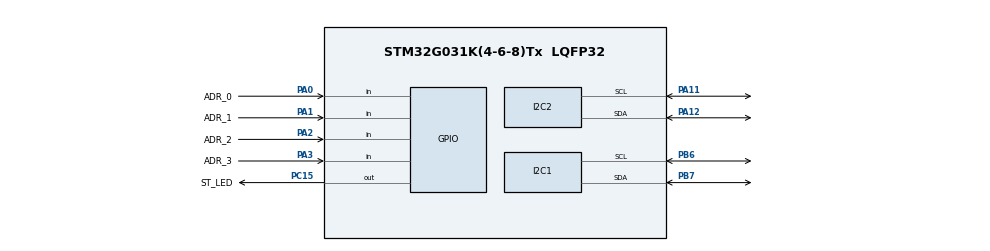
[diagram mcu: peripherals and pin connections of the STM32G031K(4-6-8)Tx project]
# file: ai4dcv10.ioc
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I2C1.Timing=0x10B17DB5
I2C2.Timing=0x10B17DB5
Mcu.Family=STM32G0
Mcu.Name=STM32G031K(4-6-8)Tx
Mcu.Package=LQFP32
PA0.GPIO_Label=ADR_0
PA0.GPIO_PuPd=GPIO_PULLUP
PA0.Signal=GPIO_Input
PA1.GPIO_Label=ADR_1
PA1.GPIO_PuPd=GPIO_PULLUP
PA1.Signal=GPIO_Input
PA11\ [PA9].Mode=I2C
PA11\ [PA9].Signal=I2C2_SCL
PA12\ [PA10].Mode=I2C
PA12\ [PA10].Signal=I2C2_SDA
PA2.GPIO_Label=ADR_2
PA2.GPIO_PuPd=GPIO_PULLUP
PA2.Signal=GPIO_Input
PA3.GPIO_Label=ADR_3
PA3.GPIO_PuPd=GPIO_PULLUP
PA3.Signal=GPIO_Input
PB6.Mode=I2C
PB6.Signal=I2C1_SCL
PB7.Mode=I2C
PB7.Signal=I2C1_SDA
PC15-OSC32_OUT\ (PC15).GPIO_Label=ST_LED
PC15-OSC32_OUT\ (PC15).Signal=GPIO_Output
ProjectManager.HeapSize=0x200
ProjectManager.StackSize=0x400
ProjectManager.TargetToolchain=CMake
RCC.ADCFreq_Value=64000000
RCC.AHBFreq_Value=64000000
RCC.CortexFreq_Value=64000000
RCC.EXTERNAL_CLOCK_VALUE=12288000
RCC.HCLKFreq_Value=64000000
RCC.HSE_VALUE=8000000
RCC.HSI_VALUE=16000000
RCC.LSE_VALUE=32768
RCC.SYSCLKFreq_VALUE=64000000
RCC.SYSCLKSource=RCC_SYSCLKSOURCE_PLLCLK
RCC.VCOOutputFreq_Value=128000000
VP_IWDG_VS_IWDG.Mode=IWDG_Activate
board=custom

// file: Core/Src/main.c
/* USER CODE BEGIN Header */
/**
  ******************************************************************************
  * @file           : main.c
  * @brief          : Main program body
  ******************************************************************************
  * @attention
  *
  * Copyright (c) 2026 STMicroelectronics.
  * All rights reserved.
  *
  * This software is licensed under terms that can be found in the LICENSE file
  * in the root directory of this software component.
  * If no LICENSE file comes with this software, it is provided AS-IS.
  *
  ******************************************************************************
  */
/* USER CODE END Header */
#include "main.h"

/* USER CODE BEGIN Includes */
#include "interface.h"
#include "driver/bootloader.h"
/* USER CODE END Includes */

/* USER CODE BEGIN PV */
static uint32_t address;
/* USER CODE END PV */

void SystemClock_Config(void);
static void MX_GPIO_Init(void);
static void MX_I2C1_Init(void);
static void MX_I2C2_Init(void);
static void MX_IWDG_Init(void);

int main(void)
{

  /* USER CODE BEGIN 1 */
  /* Must be the first statement: jumps to the ROM bootloader if the 0x19
   * command requested it on the previous run. Runs before any init and
   * before the IWDG ever starts (the IWDG cannot be stopped and would
   * reset the chip mid-flash inside the bootloader). */
  Bootloader_CheckAndEnter();
  /* USER CODE END 1 */

  /* MCU Configuration--------------------------------------------------------*/

  /* Reset of all peripherals, Initializes the Flash interface and the Systick. */
  LL_APB2_GRP1_EnableClock(LL_APB2_GRP1_PERIPH_SYSCFG);
  LL_APB1_GRP1_EnableClock(LL_APB1_GRP1_PERIPH_PWR);

  /* SysTick_IRQn interrupt configuration */
  NVIC_SetPriority(SysTick_IRQn, 3);

  /* Configure the system clock */
  SystemClock_Config();

  /* Initialize all configured peripherals */
  MX_GPIO_Init();
  MX_I2C1_Init();
  MX_I2C2_Init();
  MX_IWDG_Init();
  /* USER CODE BEGIN 2 */
  /* Slave address = base + closed address jumpers (open, pulled high = no
   * offset - the F0 boards' convention). MX_I2C1_Init left OwnAddress1 = 0;
   * the real address is set here. */
  address = I2C_BASE_ADDRESS;
  address += LL_GPIO_IsInputPinSet(ADR_0_GPIO_Port, ADR_0_Pin) ? 0x00 : 0x01;
  address += LL_GPIO_IsInputPinSet(ADR_1_GPIO_Port, ADR_1_Pin) ? 0x00 : 0x02;
  address += LL_GPIO_IsInputPinSet(ADR_2_GPIO_Port, ADR_2_Pin) ? 0x00 : 0x04;
  address += LL_GPIO_IsInputPinSet(ADR_3_GPIO_Port, ADR_3_Pin) ? 0x00 : 0x08;

  LL_I2C_DisableOwnAddress1(I2C1);
  LL_I2C_SetOwnAddress1(I2C1, address << 1, LL_I2C_ADDRESSING_MODE_7BIT);
  LL_I2C_EnableOwnAddress1(I2C1);

  LL_SYSTICK_EnableIT();

  I2CHat_init();
  /* USER CODE END 2 */

  /* Infinite loop */
  while (1)
  {

    /* USER CODE BEGIN 3 */
    I2CHat_run();
  }
  /* USER CODE END 3 */
}

void SystemClock_Config(void)
{
  LL_FLASH_SetLatency(LL_FLASH_LATENCY_2);
  while(LL_FLASH_GetLatency() != LL_FLASH_LATENCY_2)
  {
  }

  /* HSI configuration and activation */
  LL_RCC_HSI_Enable();
  while(LL_RCC_HSI_IsReady() != 1)
  {
  }

  /* LSI configuration and activation */
  LL_RCC_LSI_Enable();
  while(LL_RCC_LSI_IsReady() != 1)
  {
  }

  /* Main PLL configuration and activation */
  LL_RCC_PLL_ConfigDomain_SYS(LL_RCC_PLLSOURCE_HSI, LL_RCC_PLLM_DIV_1, 8, LL_RCC_PLLR_DIV_2);
  LL_RCC_PLL_Enable();
  LL_RCC_PLL_EnableDomain_SYS();
  while(LL_RCC_PLL_IsReady() != 1)
  {
  }

  /* Set AHB prescaler*/
  LL_RCC_SetAHBPrescaler(LL_RCC_SYSCLK_DIV_1);

  /* Sysclk activation on the main PLL */
  LL_RCC_SetSysClkSource(LL_RCC_SYS_CLKSOURCE_PLL);
  while(LL_RCC_GetSysClkSource() != LL_RCC_SYS_CLKSOURCE_STATUS_PLL)
  {
  }

  /* Set APB1 prescaler*/
  LL_RCC_SetAPB1Prescaler(LL_RCC_APB1_DIV_1);

  LL_Init1msTick(64000000);

  /* Update CMSIS variable (which can be updated also through SystemCoreClockUpdate function) */
  LL_SetSystemCoreClock(64000000);
}

static void MX_I2C1_Init(void)
{

  LL_I2C_InitTypeDef I2C_InitStruct = {0};

  LL_GPIO_InitTypeDef GPIO_InitStruct = {0};

  LL_RCC_SetI2CClockSource(LL_RCC_I2C1_CLKSOURCE_PCLK1);

  LL_IOP_GRP1_EnableClock(LL_IOP_GRP1_PERIPH_GPIOB);
  /**I2C1 GPIO Configuration
  PB6   ------> I2C1_SCL
  PB7   ------> I2C1_SDA
  */
  GPIO_InitStruct.Pin = LL_GPIO_PIN_6;
  GPIO_InitStruct.Mode = LL_GPIO_MODE_ALTERNATE;
  GPIO_InitStruct.Speed = LL_GPIO_SPEED_FREQ_LOW;
  GPIO_InitStruct.OutputType = LL_GPIO_OUTPUT_OPENDRAIN;
  GPIO_InitStruct.Pull = LL_GPIO_PULL_NO;
  GPIO_InitStruct.Alternate = LL_GPIO_AF_6;
  LL_GPIO_Init(GPIOB, &GPIO_InitStruct);

  GPIO_InitStruct.Pin = LL_GPIO_PIN_7;
  GPIO_InitStruct.Mode = LL_GPIO_MODE_ALTERNATE;
  GPIO_InitStruct.Speed = LL_GPIO_SPEED_FREQ_LOW;
  GPIO_InitStruct.OutputType = LL_GPIO_OUTPUT_OPENDRAIN;
  GPIO_InitStruct.Pull = LL_GPIO_PULL_NO;
  GPIO_InitStruct.Alternate = LL_GPIO_AF_6;
  LL_GPIO_Init(GPIOB, &GPIO_InitStruct);

  /* Peripheral clock enable */
  LL_APB1_GRP1_EnableClock(LL_APB1_GRP1_PERIPH_I2C1);

  /** I2C Initialization
  */
  I2C_InitStruct.PeripheralMode = LL_I2C_MODE_I2C;
  I2C_InitStruct.Timing = 0x10B17DB5;
  I2C_InitStruct.AnalogFilter = LL_I2C_ANALOGFILTER_ENABLE;
  I2C_InitStruct.DigitalFilter = 0;
  I2C_InitStruct.OwnAddress1 = 0;
  I2C_InitStruct.TypeAcknowledge = LL_I2C_ACK;
  I2C_InitStruct.OwnAddrSize = LL_I2C_OWNADDRESS1_7BIT;
  LL_I2C_Init(I2C1, &I2C_InitStruct);
  LL_I2C_EnableAutoEndMode(I2C1);
  LL_I2C_SetOwnAddress2(I2C1, 0, LL_I2C_OWNADDRESS2_NOMASK);
  LL_I2C_DisableOwnAddress2(I2C1);
  LL_I2C_DisableGeneralCall(I2C1);
  LL_I2C_EnableClockStretching(I2C1);

}

static void MX_I2C2_Init(void)
{

  LL_I2C_InitTypeDef I2C_InitStruct = {0};

  LL_GPIO_InitTypeDef GPIO_InitStruct = {0};

  LL_IOP_GRP1_EnableClock(LL_IOP_GRP1_PERIPH_GPIOA);
  /**I2C2 GPIO Configuration
  PA11 [PA9]   ------> I2C2_SCL
  PA12 [PA10]   ------> I2C2_SDA
  */
  GPIO_InitStruct.Pin = LL_GPIO_PIN_11;
  GPIO_InitStruct.Mode = LL_GPIO_MODE_ALTERNATE;
  GPIO_InitStruct.Speed = LL_GPIO_SPEED_FREQ_LOW;
  GPIO_InitStruct.OutputType = LL_GPIO_OUTPUT_OPENDRAIN;
  GPIO_InitStruct.Pull = LL_GPIO_PULL_NO;
  GPIO_InitStruct.Alternate = LL_GPIO_AF_6;
  LL_GPIO_Init(GPIOA, &GPIO_InitStruct);

  GPIO_InitStruct.Pin = LL_GPIO_PIN_12;
  GPIO_InitStruct.Mode = LL_GPIO_MODE_ALTERNATE;
  GPIO_InitStruct.Speed = LL_GPIO_SPEED_FREQ_LOW;
  GPIO_InitStruct.OutputType = LL_GPIO_OUTPUT_OPENDRAIN;
  GPIO_InitStruct.Pull = LL_GPIO_PULL_NO;
  GPIO_InitStruct.Alternate = LL_GPIO_AF_6;
  LL_GPIO_Init(GPIOA, &GPIO_InitStruct);

  /* Peripheral clock enable */
  LL_APB1_GRP1_EnableClock(LL_APB1_GRP1_PERIPH_I2C2);

  /** I2C Initialization
  */
  I2C_InitStruct.PeripheralMode = LL_I2C_MODE_I2C;
  I2C_InitStruct.Timing = 0x10B17DB5;
  I2C_InitStruct.AnalogFilter = LL_I2C_ANALOGFILTER_ENABLE;
  I2C_InitStruct.DigitalFilter = 0;
  I2C_InitStruct.OwnAddress1 = 0;
  I2C_InitStruct.TypeAcknowledge = LL_I2C_ACK;
  I2C_InitStruct.OwnAddrSize = LL_I2C_OWNADDRESS1_7BIT;
  LL_I2C_Init(I2C2, &I2C_InitStruct);
  LL_I2C_EnableAutoEndMode(I2C2);
  LL_I2C_SetOwnAddress2(I2C2, 0, LL_I2C_OWNADDRESS2_NOMASK);
  LL_I2C_DisableOwnAddress2(I2C2);
  LL_I2C_DisableGeneralCall(I2C2);
  LL_I2C_EnableClockStretching(I2C2);

}

static void MX_IWDG_Init(void)
{

  LL_IWDG_Enable(IWDG);
  LL_IWDG_EnableWriteAccess(IWDG);
  LL_IWDG_SetPrescaler(IWDG, LL_IWDG_PRESCALER_4);
  LL_IWDG_SetReloadCounter(IWDG, 4095);
  while (LL_IWDG_IsReady(IWDG) != 1)
  {
  }

  LL_IWDG_ReloadCounter(IWDG);

}

static void MX_GPIO_Init(void)
{
  LL_GPIO_InitTypeDef GPIO_InitStruct = {0};

  /* GPIO Ports Clock Enable */
  LL_IOP_GRP1_EnableClock(LL_IOP_GRP1_PERIPH_GPIOC);
  LL_IOP_GRP1_EnableClock(LL_IOP_GRP1_PERIPH_GPIOA);
  LL_IOP_GRP1_EnableClock(LL_IOP_GRP1_PERIPH_GPIOB);

  /**/
  LL_GPIO_ResetOutputPin(ST_LED_GPIO_Port, ST_LED_Pin);

  /**/
  GPIO_InitStruct.Pin = ST_LED_Pin;
  GPIO_InitStruct.Mode = LL_GPIO_MODE_OUTPUT;
  GPIO_InitStruct.Speed = LL_GPIO_SPEED_FREQ_LOW;
  GPIO_InitStruct.OutputType = LL_GPIO_OUTPUT_PUSHPULL;
  GPIO_InitStruct.Pull = LL_GPIO_PULL_NO;
  LL_GPIO_Init(ST_LED_GPIO_Port, &GPIO_InitStruct);

  /**/
  GPIO_InitStruct.Pin = ADR_0_Pin;
  GPIO_InitStruct.Mode = LL_GPIO_MODE_INPUT;
  GPIO_InitStruct.Pull = LL_GPIO_PULL_UP;
  LL_GPIO_Init(ADR_0_GPIO_Port, &GPIO_InitStruct);

  /**/
  GPIO_InitStruct.Pin = ADR_1_Pin;
  GPIO_InitStruct.Mode = LL_GPIO_MODE_INPUT;
  GPIO_InitStruct.Pull = LL_GPIO_PULL_UP;
  LL_GPIO_Init(ADR_1_GPIO_Port, &GPIO_InitStruct);

  /**/
  GPIO_InitStruct.Pin = ADR_2_Pin;
  GPIO_InitStruct.Mode = LL_GPIO_MODE_INPUT;
  GPIO_InitStruct.Pull = LL_GPIO_PULL_UP;
  LL_GPIO_Init(ADR_2_GPIO_Port, &GPIO_InitStruct);

  /**/
  GPIO_InitStruct.Pin = ADR_3_Pin;
  GPIO_InitStruct.Mode = LL_GPIO_MODE_INPUT;
  GPIO_InitStruct.Pull = LL_GPIO_PULL_UP;
  LL_GPIO_Init(ADR_3_GPIO_Port, &GPIO_InitStruct);

}

void Error_Handler(void)
{
  __disable_irq();
  while (1)
  {
  }
}
